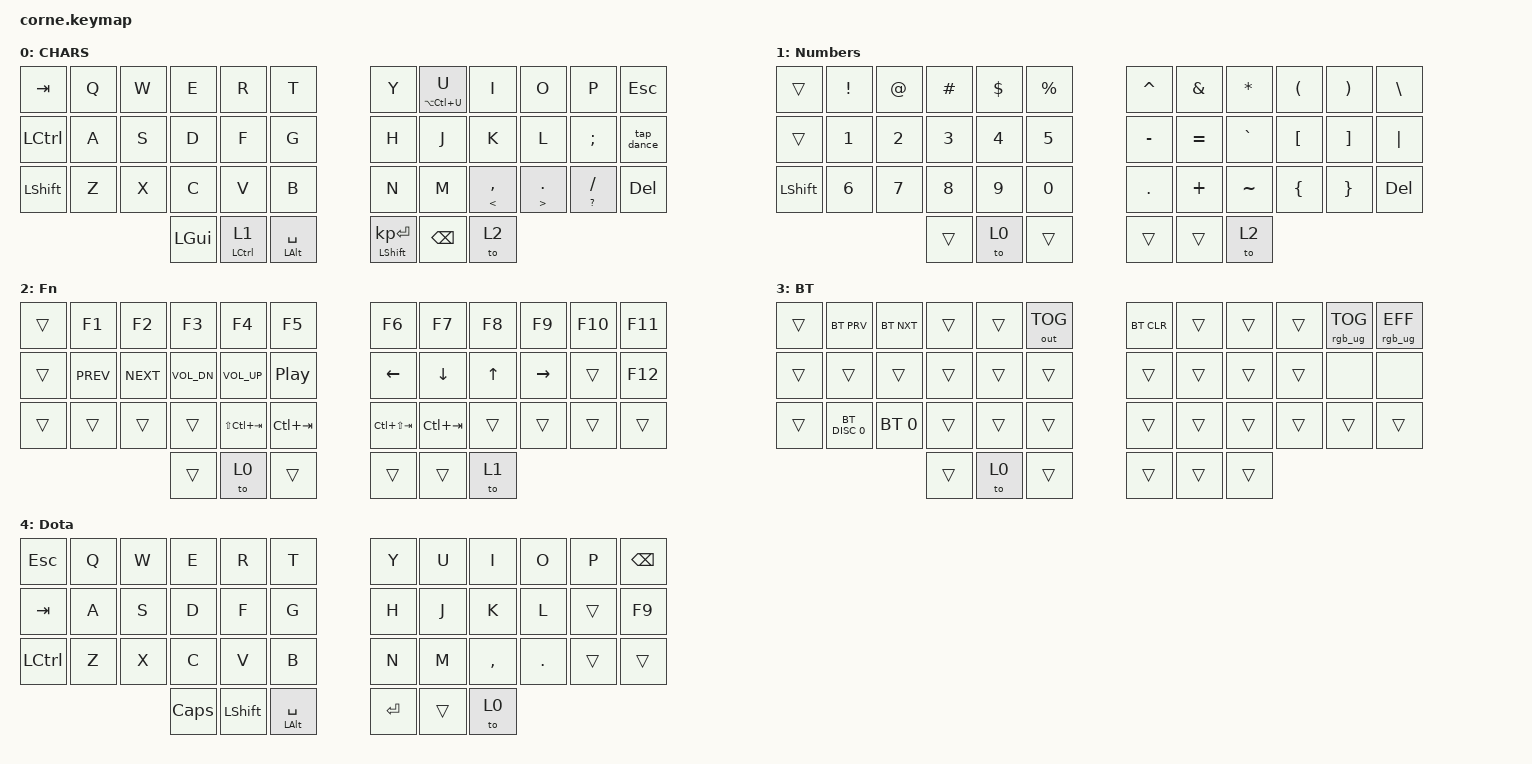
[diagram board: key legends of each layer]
/*
 * Copyright (c) 2020 The ZMK Contributors
 *
 * SPDX-License-Identifier: MIT
 */

#include <behaviors.dtsi>
#include <dt-bindings/zmk/bt.h>
#include <dt-bindings/zmk/keys.h>
#include <dt-bindings/zmk/outputs.h>
#include <dt-bindings/zmk/rgb.h>

&led_strip {
    chain-length = <27>;

    // chain-length = <27>;
    // 21 backlight + 6 glowlight
};

&nice_view_spi { cs-gpios = <&pro_micro 0 GPIO_ACTIVE_HIGH>; };

/ {
    behaviors {
        tp: tap_preferred {
            compatible = "zmk,behavior-hold-tap";
            label = "TAP_PREFERRED";
            #binding-cells = <2>;
            tapping-term-ms = <200>;
            quick-tap-ms = <0>;
            flavor = "tap-preferred";
            bindings = <&kp>, <&kp>;
        };

        tap_dance: tap_dance {
            compatible = "zmk,behavior-tap-dance";
            label = "TAP_DANCE";
            #binding-cells = <0>;
            bindings = <&kp SQT>, <&kp LS(SINGLE_QUOTE)>, <&kp QUESTION>;

            tapping-term-ms = <150>;
        };

        layer_dance: layer_dance {
            compatible = "zmk,behavior-tap-dance";
            label = "LAYER_DANCE";
            #binding-cells = <0>;
            bindings = <&to 1>, <&to 0>;

            tapping-term-ms = <150>;
        };

        hkey_taplayer: Hold_KP_tap_layer {
            compatible = "zmk,behavior-hold-tap";
            label = "HOLD_KP_TAP_LAYER";
            bindings = <&kp>, <&to>;

            #binding-cells = <2>;
            tapping-term-ms = <150>;
            flavor = "tap-preferred";
        };

        hp_100ms: Hold_prefered_100 {
            compatible = "zmk,behavior-hold-tap";
            label = "Hold_Prefered_100";
            bindings = <&kp>, <&kp>;

            #binding-cells = <2>;
            tapping-term-ms = <100>;
        };
    };

    combos {
        compatible = "zmk,combos";

        minus {
            bindings = <&kp MINUS>;
            key-positions = <5 6>;
        };

        equals {
            bindings = <&kp EQUAL>;
            key-positions = <17 18>;
        };

        taskmanager {
            bindings = <&kp RC(RA(DELETE))>;
            key-positions = <24 35>;
        };

        underscore {
            bindings = <&kp UNDER>;
            key-positions = <29 30>;
        };

        screen_shot {
            bindings = <&kp LG(LS(S))>;
            key-positions = <13 22>;
        };

        CapsWord {
            bindings = <&caps_word>;
            key-positions = <16 19>;
        };

        bluetooth {
            bindings = <&to 3>;
            key-positions = <36 41>;
        };

        Dota_layer {
            bindings = <&to 4>;
            key-positions = <37 40>;
        };
    };

    keymap {
        compatible = "zmk,keymap";

        CHARS {
            // -----------------------------------------------------------------------------------------
            // | TAB  |  Q  |  W  |  E  |  R  |    T    |   |  Y  |  U   |  I  |  O  |  P  | ESC |
            // | CTRL |  A  |  S  |  D  |  F  |    G    |   |  H  |  J   |  K  |  L  |  ;  |  '   |
            // | SHFT |  Z  |  X  |  C  |  V  |    B    |   |  N  |  M   |  ,  |  .  |  /  | SHFT |
            //                    | GUI | LWR | ALT/ENT |   | HYPER/SPC | BKSP  | RSE |

            bindings = <
&kp TAB    &kp Q  &kp W  &kp E     &kp R                          &kp T             &kp Y                    &tp LA(LC(U)) U  &kp I                &kp O                    &kp P               &kp ESC
&kp LCTRL  &kp A  &kp S  &kp D     &kp F                          &kp G             &kp H                    &kp J            &kp K                &kp L                    &kp SEMI            &tap_dance
&kp LSHFT  &kp Z  &kp X  &kp C     &kp V                          &kp B             &kp N                    &kp M            &tp LESS_THAN COMMA  &tp GREATER_THAN PERIOD  &tp QUESTION SLASH  &kp DELETE
                         &kp LGUI  &hkey_taplayer LEFT_CONTROL 1  &tp LALT SPACE    &tp LEFT_SHIFT KP_ENTER  &kp BSPC         &to 2
            >;

            label = "CHARS";
        };

        Numbers {
            // -----------------------------------------------------------------------------------------
            // |      |  !  |  @  |  #  |  $  |    %     |   |  ^  |  &  |  *  |  (  |  )  |   \   |
            // |      |  1  |  2  |  3  |  4  |    5     |   |  -  |  =  |  `  |  [  |  ]  |  "|"  |
            // | SHFT |  6  |  7  |  8  |  9  |    0     |   |  _  |  +  |  ~  |  {  |  }  | RSHFT |
            //                     | GUI |     | ALT/ENT |   | HYPER/SPACE | BKSP |    |

            bindings = <
&trans     &kp EXCL  &kp AT  &kp HASH  &kp DLLR  &kp PRCNT    &kp CARET   &kp AMPS   &kp ASTERISK  &kp LPAR  &kp RPAR  &kp BSLH
&trans     &kp N1    &kp N2  &kp N3    &kp N4    &kp N5       &kp MINUS   &kp EQUAL  &kp GRAVE     &kp LBKT  &kp RBKT  &kp PIPE
&kp LSHFT  &kp N6    &kp N7  &kp N8    &kp N9    &kp N0       &kp PERIOD  &kp PLUS   &kp TILDE     &kp LBRC  &kp RBRC  &kp DEL
                             &trans    &to 0     &trans       &trans      &trans     &to 2
            >;

            label = "Numbers";
        };

        FN {
            // -----------------------------------------------------------------------------------------
            // |       |  F1  |  F2  |  F3  |  F4  |  F5 |            |  F6  |  F7  |  F8  |  F9  |  F10  |   |
            // |       | Prev | Next | Vol - | Vol + | Play/Pause |   |      | LFT | DWN |  UP | RGT |     |     |
            // | BTCLR | BT1 | BT2 | BT3 | BT4 | BT5 |   |            |     |     |     |     |     |     |
            //                    |     |     |    |                  |     |     |     |

            bindings = <
&trans  &kp F1      &kp F2      &kp F3        &kp F4           &kp F5         &kp F6           &kp F7       &kp F8  &kp F9     &kp F10  &kp F11
&trans  &kp C_PREV  &kp C_NEXT  &kp C_VOL_DN  &kp C_VOL_UP     &kp C_PP       &kp LEFT         &kp DOWN     &kp UP  &kp RIGHT  &trans   &kp F12
&trans  &trans      &trans      &trans        &kp LS(LC(TAB))  &kp LC(TAB)    &kp LC(LS(TAB))  &kp LC(TAB)  &trans  &trans     &trans   &trans
                                &trans        &to 0            &trans         &trans           &trans       &to 1
            >;

            label = "Fn";
        };

        BT {
            bindings = <
&trans  &bt BT_PRV     &bt BT_NXT    &trans  &trans  &out OUT_TOG    &bt BT_CLR  &trans  &trans  &trans  &rgb_ug RGB_TOG  &rgb_ug RGB_EFF
&trans  &trans         &trans        &trans  &trans  &trans          &trans      &trans  &trans  &trans  &none            &none
&trans  &bt BT_DISC 0  &bt BT_SEL 0  &trans  &trans  &trans          &trans      &trans  &trans  &trans  &trans           &trans
                                     &trans  &to 0   &trans          &trans      &trans  &trans
            >;

            label = "BT";
        };

        Dota {
            bindings = <
&kp ESC    &kp Q  &kp W  &kp E     &kp R      &kp T                       &kp Y      &kp U   &kp I      &kp O    &kp P   &kp BSPC
&kp TAB    &kp A  &kp S  &kp D     &kp F      &kp G                       &kp H      &kp J   &kp K      &kp L    &trans  &kp F9
&kp LCTRL  &kp Z  &kp X  &kp C     &kp V      &kp B                       &kp N      &kp M   &kp COMMA  &kp DOT  &trans  &trans
                         &kp CAPS  &kp LSHFT  &hp_100ms LEFT_ALT SPACE    &kp ENTER  &trans  &to 0
            >;

            label = "Dota";
        };
    };
};
